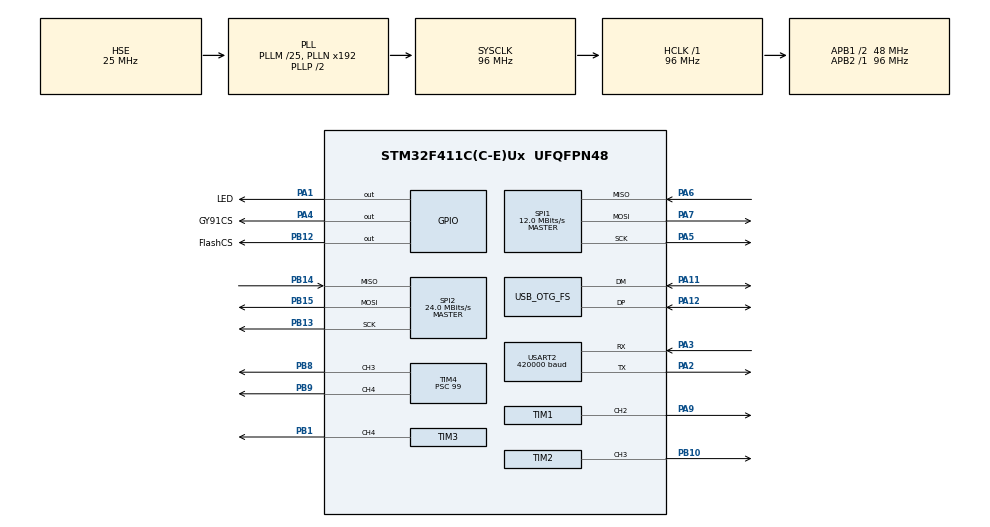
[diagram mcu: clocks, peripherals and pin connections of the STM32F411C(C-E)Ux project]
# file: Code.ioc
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Mcu.Family=STM32F4
Mcu.Name=STM32F411C(C-E)Ux
Mcu.Package=UFQFPN48
NVIC.OTG_FS_IRQn=true\:0\:0\:false\:false\:true\:false\:true\:true
NVIC.PriorityGroup=NVIC_PRIORITYGROUP_4
NVIC.USART2_IRQn=true\:0\:0\:false\:false\:true\:true\:true\:true
PA1.GPIO_Label=LED
PA1.Signal=GPIO_Output
PA11.Mode=Device_Only
PA11.Signal=USB_OTG_FS_DM
PA12.Mode=Device_Only
PA12.Signal=USB_OTG_FS_DP
PA13.Mode=Serial_Wire
PA13.Signal=SYS_JTMS-SWDIO
PA14.Mode=Serial_Wire
PA14.Signal=SYS_JTCK-SWCLK
PA2.Mode=Asynchronous
PA2.Signal=USART2_TX
PA3.Mode=Asynchronous
PA3.Signal=USART2_RX
PA4.GPIO_Label=GY91CS
PA4.Signal=GPIO_Output
PA5.Mode=Full_Duplex_Master
PA5.Signal=SPI1_SCK
PA6.Mode=Full_Duplex_Master
PA6.Signal=SPI1_MISO
PA7.Mode=Full_Duplex_Master
PA7.Signal=SPI1_MOSI
PA9.Signal=S_TIM1_CH2
PB1.Signal=S_TIM3_CH4
PB10.Signal=S_TIM2_CH3
PB12.GPIO_Label=FlashCS
PB12.Signal=GPIO_Output
PB13.Mode=Full_Duplex_Master
PB13.Signal=SPI2_SCK
PB14.Mode=Full_Duplex_Master
PB14.Signal=SPI2_MISO
PB15.Mode=Full_Duplex_Master
PB15.Signal=SPI2_MOSI
PB8.Signal=S_TIM4_CH3
PB9.Signal=S_TIM4_CH4
PH0\ -\ OSC_IN.Mode=HSE-External-Oscillator
PH0\ -\ OSC_IN.Signal=RCC_OSC_IN
PH1\ -\ OSC_OUT.Mode=HSE-External-Oscillator
PH1\ -\ OSC_OUT.Signal=RCC_OSC_OUT
ProjectManager.HeapSize=0x200
ProjectManager.StackSize=0x400
ProjectManager.TargetToolchain=STM32CubeIDE
RCC.48MHZClocksFreq_Value=48000000
RCC.AHBFreq_Value=96000000
RCC.APB1CLKDivider=RCC_HCLK_DIV2
RCC.APB1Freq_Value=48000000
RCC.APB1TimFreq_Value=96000000
RCC.APB2Freq_Value=96000000
RCC.APB2TimFreq_Value=96000000
RCC.CortexFreq_Value=96000000
RCC.HCLKFreq_Value=96000000
RCC.HSE_VALUE=25000000
RCC.HSI_VALUE=16000000
RCC.LSE_VALUE=32768
RCC.PLLM=25
RCC.SYSCLKFreq_VALUE=96000000
RCC.SYSCLKSource=RCC_SYSCLKSOURCE_PLLCLK
RCC.VCOOutputFreq_Value=192000000
SH.S_TIM1_CH2.0=TIM1_CH2,PWM Generation2 CH2
SH.S_TIM2_CH3.0=TIM2_CH3,PWM Generation3 CH3
SH.S_TIM3_CH4.0=TIM3_CH4,PWM Generation4 CH4
SH.S_TIM4_CH3.0=TIM4_CH3,PWM Generation3 CH3
SH.S_TIM4_CH4.0=TIM4_CH4,PWM Generation4 CH4
SPI1.BaudRatePrescaler=SPI_BAUDRATEPRESCALER_8
SPI1.CalculateBaudRate=12.0 MBits/s
SPI1.Direction=SPI_DIRECTION_2LINES
SPI1.Mode=SPI_MODE_MASTER
SPI1.VirtualType=VM_MASTER
SPI2.CalculateBaudRate=24.0 MBits/s
SPI2.Direction=SPI_DIRECTION_2LINES
SPI2.Mode=SPI_MODE_MASTER
SPI2.VirtualType=VM_MASTER
TIM1.Channel-PWM\ Generation2\ CH2=TIM_CHANNEL_2
TIM1.Period=19999
TIM1.Pulse-PWM\ Generation2\ CH2=1000
TIM11.Prescaler=83
TIM2.Channel-PWM\ Generation3\ CH3=TIM_CHANNEL_3
TIM2.Period=19999
TIM2.Prescaler=99
TIM2.Pulse-PWM\ Generation3\ CH3=1500
TIM3.Channel-PWM\ Generation4\ CH4=TIM_CHANNEL_4
TIM3.Period=19999
TIM3.Prescaler=83
TIM3.Pulse-PWM\ Generation4\ CH4=1500
TIM4.Channel-PWM\ Generation3\ CH3=TIM_CHANNEL_3
TIM4.Channel-PWM\ Generation4\ CH4=TIM_CHANNEL_4
TIM4.Prescaler=99
TIM4.Pulse-PWM\ Generation3\ CH3=1500
TIM4.Pulse-PWM\ Generation4\ CH4=1500
USART2.BaudRate=420000
USART2.VirtualMode=VM_ASYNC
USB_DEVICE.CLASS_NAME_FS=CDC
USB_DEVICE.VirtualMode=Cdc
USB_DEVICE.VirtualModeFS=Cdc_FS
USB_OTG_FS.VirtualMode=Device_Only
VP_TIM11_VS_ClockSourceINT.Mode=Enable_Timer
VP_TIM1_VS_ClockSourceINT.Mode=Internal
VP_TIM2_VS_ClockSourceINT.Mode=Internal
VP_TIM3_VS_ClockSourceINT.Mode=Internal
VP_TIM4_VS_ClockSourceINT.Mode=Internal
VP_USB_DEVICE_VS_USB_DEVICE_CDC_FS.Mode=CDC_FS
board=custom

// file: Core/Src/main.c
/* USER CODE BEGIN Header */
/**
  ******************************************************************************
  * @file           : main.c
  * @brief          : Main program body
  ******************************************************************************
  * @attention
  *
  * Copyright (c) 2026 STMicroelectronics.
  * All rights reserved.
  *
  * This software is licensed under terms that can be found in the LICENSE file
  * in the root directory of this software component.
  * If no LICENSE file comes with this software, it is provided AS-IS.
  *
  ******************************************************************************
  */
/* USER CODE END Header */
#include "main.h"
#include "usb_device.h"

/* USER CODE BEGIN Includes */
#include "usbd_cdc_if.h"
#include "controls.h"
#include "pid.h"
#include <math.h>
/* USER CODE END Includes */

SPI_HandleTypeDef hspi1;
SPI_HandleTypeDef hspi2;

TIM_HandleTypeDef htim1;
TIM_HandleTypeDef htim2;
TIM_HandleTypeDef htim3;
TIM_HandleTypeDef htim4;
TIM_HandleTypeDef htim11;

UART_HandleTypeDef huart2;

/* USER CODE BEGIN PV */
uint8_t rx_byte = 0;
uint8_t crsf_buffer[64];  // Bufor na całą paczkę CRSF
uint8_t crsf_index = 0;   // Licznik odebranych bajtów
volatile uint16_t roll, pitch, throttle, yaw;

PIDControls pid_roll;
PIDControls pid_pitch;

uint32_t last_blink_time = 0;
uint32_t last_pid_time = 0;

// --- Zmienne globalne do podglądu w Live Expressions ---
IMU_Data_t sensor_data;
float setpoint_roll, setpoint_pitch;
float pid_out_roll, pid_out_pitch;
long pwm_elev, pwm_flapL, pwm_flapR, pwm_rudder, pwm_throttle;

float angle_roll = 0.0f;
float angle_pitch = 0.0f;

// Zmienne na to, co wyliczy sam akcelerometr
float accel_roll = 0.0f;
float accel_pitch = 0.0f;
/* USER CODE END PV */

void SystemClock_Config(void);
static void MX_GPIO_Init(void);
static void MX_SPI1_Init(void);
static void MX_TIM2_Init(void);
static void MX_TIM3_Init(void);
static void MX_TIM11_Init(void);
static void MX_SPI2_Init(void);
static void MX_TIM4_Init(void);
static void MX_USART2_UART_Init(void);
static void MX_TIM1_Init(void);

/* USER CODE BEGIN 0 */
long map(long x, long in_min, long in_max, long out_min, long out_max) {
    return (x - in_min) * (out_max - out_min) / (in_max - in_min) + out_min;
}
/* USER CODE END 0 */

int main(void)
{

  /* MCU Configuration--------------------------------------------------------*/

  /* Reset of all peripherals, Initializes the Flash interface and the Systick. */
  HAL_Init();

  /* Configure the system clock */
  SystemClock_Config();

  /* Initialize all configured peripherals */
  MX_GPIO_Init();
  MX_SPI1_Init();
  MX_TIM2_Init();
  MX_TIM3_Init();
  MX_TIM11_Init();
  MX_SPI2_Init();
  MX_TIM4_Init();
  MX_USART2_UART_Init();
  MX_USB_DEVICE_Init();
  MX_TIM1_Init();
  /* USER CODE BEGIN 2 */
    // --- 1. WYMUSZENIE CZĘSTOTLIWOŚCI (50 Hz) ---
    __HAL_TIM_SET_AUTORELOAD(&htim4, 19999);
    TIM1->PSC = 99; // Naprawa TIM1

    // --- 2. TWARDE PRZYPISANIE PINÓW ---
    GPIO_InitTypeDef GPIO_InitStruct = {0};
    __HAL_RCC_GPIOA_CLK_ENABLE();
    __HAL_RCC_GPIOB_CLK_ENABLE();

    GPIO_InitStruct.Mode = GPIO_MODE_AF_PP;
    GPIO_InitStruct.Pull = GPIO_NOPULL;
    GPIO_InitStruct.Speed = GPIO_SPEED_FREQ_LOW;

    // Serwa na porcie B
    GPIO_InitStruct.Pin = GPIO_PIN_10;
    GPIO_InitStruct.Alternate = GPIO_AF1_TIM2;
    HAL_GPIO_Init(GPIOB, &GPIO_InitStruct); // Prawa klapa

    GPIO_InitStruct.Pin = GPIO_PIN_1;
    GPIO_InitStruct.Alternate = GPIO_AF2_TIM3;
    HAL_GPIO_Init(GPIOB, &GPIO_InitStruct); // Kierunek

    GPIO_InitStruct.Pin = GPIO_PIN_8 | GPIO_PIN_9;
    GPIO_InitStruct.Alternate = GPIO_AF2_TIM4;
    HAL_GPIO_Init(GPIOB, &GPIO_InitStruct); // Wysokość i Lewa Klapa

    // Silnik na PA9 (TIM1_CH2)
    GPIO_InitStruct.Pin = GPIO_PIN_9;
    GPIO_InitStruct.Alternate = GPIO_AF1_TIM1;
    HAL_GPIO_Init(GPIOA, &GPIO_InitStruct); // THROTTLE / ESC

    // --- 3. RĘCZNA KONFIGURACJA TIM1_CH2 ---
    TIM_OC_InitTypeDef sConfigOC_TIM1 = {0};
    sConfigOC_TIM1.OCMode = TIM_OCMODE_PWM1;
    sConfigOC_TIM1.Pulse = 1000; // Pozycja startowa = zero gazu
    sConfigOC_TIM1.OCPolarity = TIM_OCPOLARITY_HIGH;
    sConfigOC_TIM1.OCFastMode = TIM_OCFAST_DISABLE;
    HAL_TIM_PWM_ConfigChannel(&htim1, &sConfigOC_TIM1, TIM_CHANNEL_2);

    // --- 4. START KOMUNIKACJI I TIMERÓW ---
    HAL_UART_Receive_IT(&huart2, &rx_byte, 1);

    HAL_TIM_PWM_Start(&htim2, TIM_CHANNEL_3);
    HAL_TIM_PWM_Start(&htim3, TIM_CHANNEL_4);
    HAL_TIM_PWM_Start(&htim4, TIM_CHANNEL_3);
    HAL_TIM_PWM_Start(&htim4, TIM_CHANNEL_4);

    // Start silnika + aktywacja wyjść (MOE) dla zaawansowanego TIM1
    HAL_TIM_PWM_Start(&htim1, TIM_CHANNEL_2);
    __HAL_TIM_MOE_ENABLE(&htim1);
    TIM1->CCR2 = 1000; // Zabezpieczenie (0% gazu)

    // Inicjalizacja PID
    PID_Init(&pid_roll, 0.5f, 0.0f, 0.0f, 100.0f, 300.0f);
    PID_Init(&pid_pitch, 0.5f, 0.0f, 0.0f, 100.0f, 300.0f);

    // Inicjalizacja GY-91 (MPU9250) - BARDZO WAŻNE
    MPU9250_Init();

    last_pid_time = HAL_GetTick();
    // Czekamy 2 sekundy, aż ESC zagra melodyjkę i zniknie pikanie
    // --- TRYB SERWISOWY (odkomentuj tylko na biurku bez podpiętych popychaczy!) ---
     Test_Servo(&htim4, TIM_CHANNEL_3, &cfgElev);
     Test_Servo(&htim4, TIM_CHANNEL_4, &cfgFlapL);
     Test_Servo(&htim2, TIM_CHANNEL_3, &cfgFlapR);
     Test_Servo(&htim3, TIM_CHANNEL_4, &cfgRudder);
    HAL_Delay(2000);
  /* USER CODE END 2 */

  /* Infinite loop */
  /* USER CODE BEGIN WHILE */
    while (1)
        {
            // 1. Mruganie diodą (wizualny wskaźnik, że kod nie wisi)
            if (HAL_GetTick() - last_blink_time >= 300)
            {
                HAL_GPIO_TogglePin(GPIOA, LED_Pin);
                last_blink_time = HAL_GetTick();
            }

            // 2. Obliczenie delty czasu (dt) w sekundach dla PID
            uint32_t current_time = HAL_GetTick();
            float dt = (current_time - last_pid_time) / 1000.0f;
            last_pid_time = current_time;

            // Zabezpieczenie przed błędem matematycznym
            if(dt <= 0.0f) dt = 0.001f;

            // 3. Odczyt danych z żyroskopu i akcelerometru
            MPU9250_Read(&sensor_data);

            // 4. Przeliczenie sygnałów z CRSF na oczekiwaną prędkość obrotu (Setpoints)
            setpoint_roll = (roll - 992.0f) * 0.18f;
            setpoint_pitch = (pitch - 992.0f) * 0.18f;

            // Zabezpieczenie przed utratą sygnału (Failsafe)
            if (roll < 100) setpoint_roll = 0.0f;
            if (pitch < 100) setpoint_pitch = 0.0f;

            // 5. Obliczenie wartości stabilizujących przez PID
            pid_out_roll = PID_Compute(&pid_roll, setpoint_roll, sensor_data.gyro_x, dt);
            pid_out_pitch = PID_Compute(&pid_pitch, setpoint_pitch, sensor_data.gyro_y, dt);

            // --- BEZPOŚREDNI RUCH DRĄŻKA (Feed-Forward) ---
            // Zmapuj drążki bezpośrednio na wychylenie PWM (od -400 do +400 jednostek)
            long stick_pitch_mix = map_val(pitch, 172, 1811, -400, 400);
            long stick_roll_mix = map_val(roll, 172, 1811, -400, 400);

            // 6. MIKSER (Środek serwa + korekta z PID + bezpośredni ruch drążkiem)
            pwm_elev = cfgElev.center + (long)pid_out_pitch + stick_pitch_mix;

            // Pamiętaj o znakach dla lotek (jedna idzie w górę, druga w dół)
            pwm_flapL = cfgFlapL.center + (long)pid_out_roll + stick_roll_mix;
            pwm_flapR = cfgFlapR.center + (long)pid_out_roll + stick_roll_mix;

            // Używamy Twojego map_val do zmapowania drążków na limity serwa kierunku
            pwm_rudder = map_val(yaw, 172, 1811, cfgRudder.min, cfgRudder.max);

            // Gaz zostaje standardowo
            pwm_throttle = map_val(throttle, 172, 1811, 1000, 2000);

            // 7. ZABEZPIECZENIA - obcięcie sygnałów PWM do bezpiecznych limitów mechanicznych
            if(pwm_elev > cfgElev.max) pwm_elev = cfgElev.max;
            else if(pwm_elev < cfgElev.min) pwm_elev = cfgElev.min;

            if(pwm_flapL > cfgFlapL.max) pwm_flapL = cfgFlapL.max;
            else if(pwm_flapL < cfgFlapL.min) pwm_flapL = cfgFlapL.min;

            if(pwm_flapR > cfgFlapR.max) pwm_flapR = cfgFlapR.max;
            else if(pwm_flapR < cfgFlapR.min) pwm_flapR = cfgFlapR.min;

            // Zabezpieczenie silnika
            if(pwm_throttle > 2000) pwm_throttle = 2000;
            if(throttle < 200) pwm_throttle = 1000; // Awaryjne odcięcie silnika

            // --- OBLICZANIE PRAWDZIWEGO KĄTA (FILTR KOMPLEMENTARNY) ---

            // 1. Akcelerometr wylicza gdzie jest grawitacja (wzór z trygonometrii, 57.2957 to 180/PI)
            accel_pitch = atan2f(-sensor_data.accel_x, sensor_data.accel_z) * 57.2957f;
            accel_roll = atan2f(sensor_data.accel_y, sensor_data.accel_z) * 57.2957f;

            // 2. Filtr komplementarny: Ufa w 98% żyroskopowi (szybkość), a w 2% akcelerometrowi (grawitacja)
            angle_pitch = 0.98f * (angle_pitch + (sensor_data.gyro_y * dt)) + 0.02f * accel_pitch;
            angle_roll = 0.98f * (angle_roll + (sensor_data.gyro_x * dt)) + 0.02f * accel_roll;

            // 8. Aktualizacja PWM na timerach
            TIM4->CCR3 = (uint32_t)pwm_elev;     // PB8
            TIM4->CCR4 = (uint32_t)pwm_flapL;    // PB9
            TIM2->CCR3 = (uint32_t)pwm_flapR;    // PB10
            TIM3->CCR4 = (uint32_t)pwm_rudder;   // PB1
            TIM1->CCR2 = (uint32_t)pwm_throttle; // PA9
        }while (1)
        {
            // 1. Mruganie diodą (wizualny wskaźnik, że kod nie wisi)
            if (HAL_GetTick() - last_blink_time >= 300)
            {
                HAL_GPIO_TogglePin(GPIOA, LED_Pin);
                last_blink_time = HAL_GetTick();
            }

            // 2. Obliczenie delty czasu (dt) w sekundach dla PID
            uint32_t current_time = HAL_GetTick();
            float dt = (current_time - last_pid_time) / 1000.0f;
            last_pid_time = current_time;

            // Zabezpieczenie przed błędem matematycznym
            if(dt <= 0.0f) dt = 0.001f;

            // 3. Odczyt danych z żyroskopu i akcelerometru
            MPU9250_Read(&sensor_data);

            // 4. Przeliczenie sygnałów z CRSF na oczekiwaną prędkość obrotu (Setpoints)
            setpoint_roll = (roll - 992.0f) * 0.18f;
            setpoint_pitch = (pitch - 992.0f) * 0.18f;

            // Zabezpieczenie przed utratą sygnału (Failsafe)
            if (roll < 100) setpoint_roll = 0.0f;
            if (pitch < 100) setpoint_pitch = 0.0f;

            // 5. Obliczenie wartości stabilizujących przez PID
            pid_out_roll = PID_Compute(&pid_roll, setpoint_roll, sensor_data.gyro_x, dt);
            pid_out_pitch = PID_Compute(&pid_pitch, setpoint_pitch, sensor_data.gyro_y, dt);

            // --- BEZPOŚREDNI RUCH DRĄŻKA (Feed-Forward) ---
            // Zmapuj drążki bezpośrednio na wychylenie PWM (od -400 do +400 jednostek)
            long stick_pitch_mix = map_val(pitch, 172, 1811, -400, 400);
            long stick_roll_mix = map_val(roll, 172, 1811, -400, 400);

            // 6. MIKSER (Środek serwa + korekta z PID + bezpośredni ruch drążkiem)
            pwm_elev = cfgElev.center + (long)pid_out_pitch + stick_pitch_mix;

            // Pamiętaj o znakach dla lotek (jedna idzie w górę, druga w dół)
            pwm_flapL = cfgFlapL.center + (long)pid_out_roll + stick_roll_mix;
            pwm_flapR = cfgFlapR.center - (long)pid_out_roll - stick_roll_mix;

            // Używamy Twojego map_val do zmapowania drążków na limity serwa kierunku
            pwm_rudder = map_val(yaw, 172, 1811, cfgRudder.min, cfgRudder.max);

            // Gaz zostaje standardowo
            pwm_throttle = map_val(throttle, 172, 1811, 1000, 2000);

            // 7. ZABEZPIECZENIA - obcięcie sygnałów PWM do bezpiecznych limitów mechanicznych
            if(pwm_elev > cfgElev.max) pwm_elev = cfgElev.max;
            else if(pwm_elev < cfgElev.min) pwm_elev = cfgElev.min;

            if(pwm_flapL > cfgFlapL.max) pwm_flapL = cfgFlapL.max;
            else if(pwm_flapL < cfgFlapL.min) pwm_flapL = cfgFlapL.min;

            if(pwm_flapR > cfgFlapR.max) pwm_flapR = cfgFlapR.max;
            else if(pwm_flapR < cfgFlapR.min) pwm_flapR = cfgFlapR.min;

            // Zabezpieczenie silnika
            if(pwm_throttle > 2000) pwm_throttle = 2000;
            if(throttle < 200) pwm_throttle = 1000; // Awaryjne odcięcie silnika

            // --- OBLICZANIE PRAWDZIWEGO KĄTA (FILTR KOMPLEMENTARNY) ---

            // 1. Akcelerometr wylicza gdzie jest grawitacja (wzór z trygonometrii, 57.2957 to 180/PI)
            accel_pitch = atan2f(-sensor_data.accel_x, sensor_data.accel_z) * 57.2957f;
            accel_roll = atan2f(sensor_data.accel_y, sensor_data.accel_z) * 57.2957f;

            // 2. Filtr komplementarny: Ufa w 98% żyroskopowi (szybkość), a w 2% akcelerometrowi (grawitacja)
            angle_pitch = 0.98f * (angle_pitch + (sensor_data.gyro_y * dt)) + 0.02f * accel_pitch;
            angle_roll = 0.98f * (angle_roll + (sensor_data.gyro_x * dt)) + 0.02f * accel_roll;

            // 8. Aktualizacja PWM na timerach
            TIM4->CCR3 = (uint32_t)pwm_elev;     // PB8
            TIM4->CCR4 = (uint32_t)pwm_flapL;    // PB9
            TIM2->CCR3 = (uint32_t)pwm_flapR;    // PB10
            TIM3->CCR4 = (uint32_t)pwm_rudder;   // PB1
            TIM1->CCR2 = (uint32_t)pwm_throttle; // PA9
        }
    /* USER CODE END WHILE */

}

void SystemClock_Config(void)
{
  RCC_OscInitTypeDef RCC_OscInitStruct = {0};
  RCC_ClkInitTypeDef RCC_ClkInitStruct = {0};

  /** Configure the main internal regulator output voltage
  */
  __HAL_RCC_PWR_CLK_ENABLE();
  __HAL_PWR_VOLTAGESCALING_CONFIG(PWR_REGULATOR_VOLTAGE_SCALE1);

  /** Initializes the RCC Oscillators according to the specified parameters
  * in the RCC_OscInitTypeDef structure.
  */
  RCC_OscInitStruct.OscillatorType = RCC_OSCILLATORTYPE_HSE;
  RCC_OscInitStruct.HSEState = RCC_HSE_ON;
  RCC_OscInitStruct.PLL.PLLState = RCC_PLL_ON;
  RCC_OscInitStruct.PLL.PLLSource = RCC_PLLSOURCE_HSE;
  RCC_OscInitStruct.PLL.PLLM = 25;
  RCC_OscInitStruct.PLL.PLLN = 192;
  RCC_OscInitStruct.PLL.PLLP = RCC_PLLP_DIV2;
  RCC_OscInitStruct.PLL.PLLQ = 4;
  if (HAL_RCC_OscConfig(&RCC_OscInitStruct) != HAL_OK)
  {
    Error_Handler();
  }

  /** Initializes the CPU, AHB and APB buses clocks
  */
  RCC_ClkInitStruct.ClockType = RCC_CLOCKTYPE_HCLK|RCC_CLOCKTYPE_SYSCLK
                              |RCC_CLOCKTYPE_PCLK1|RCC_CLOCKTYPE_PCLK2;
  RCC_ClkInitStruct.SYSCLKSource = RCC_SYSCLKSOURCE_PLLCLK;
  RCC_ClkInitStruct.AHBCLKDivider = RCC_SYSCLK_DIV1;
  RCC_ClkInitStruct.APB1CLKDivider = RCC_HCLK_DIV2;
  RCC_ClkInitStruct.APB2CLKDivider = RCC_HCLK_DIV1;

  if (HAL_RCC_ClockConfig(&RCC_ClkInitStruct, FLASH_LATENCY_3) != HAL_OK)
  {
    Error_Handler();
  }
}

static void MX_SPI1_Init(void)
{

  /* SPI1 parameter configuration*/
  hspi1.Instance = SPI1;
  hspi1.Init.Mode = SPI_MODE_MASTER;
  hspi1.Init.Direction = SPI_DIRECTION_2LINES;
  hspi1.Init.DataSize = SPI_DATASIZE_8BIT;
  hspi1.Init.CLKPolarity = SPI_POLARITY_LOW;
  hspi1.Init.CLKPhase = SPI_PHASE_1EDGE;
  hspi1.Init.NSS = SPI_NSS_SOFT;
  hspi1.Init.BaudRatePrescaler = SPI_BAUDRATEPRESCALER_8;
  hspi1.Init.FirstBit = SPI_FIRSTBIT_MSB;
  hspi1.Init.TIMode = SPI_TIMODE_DISABLE;
  hspi1.Init.CRCCalculation = SPI_CRCCALCULATION_DISABLE;
  hspi1.Init.CRCPolynomial = 10;
  if (HAL_SPI_Init(&hspi1) != HAL_OK)
  {
    Error_Handler();
  }

}

static void MX_SPI2_Init(void)
{

  /* SPI2 parameter configuration*/
  hspi2.Instance = SPI2;
  hspi2.Init.Mode = SPI_MODE_MASTER;
  hspi2.Init.Direction = SPI_DIRECTION_2LINES;
  hspi2.Init.DataSize = SPI_DATASIZE_8BIT;
  hspi2.Init.CLKPolarity = SPI_POLARITY_LOW;
  hspi2.Init.CLKPhase = SPI_PHASE_1EDGE;
  hspi2.Init.NSS = SPI_NSS_SOFT;
  hspi2.Init.BaudRatePrescaler = SPI_BAUDRATEPRESCALER_2;
  hspi2.Init.FirstBit = SPI_FIRSTBIT_MSB;
  hspi2.Init.TIMode = SPI_TIMODE_DISABLE;
  hspi2.Init.CRCCalculation = SPI_CRCCALCULATION_DISABLE;
  hspi2.Init.CRCPolynomial = 10;
  if (HAL_SPI_Init(&hspi2) != HAL_OK)
  {
    Error_Handler();
  }

}

static void MX_TIM1_Init(void)
{

  TIM_ClockConfigTypeDef sClockSourceConfig = {0};
  TIM_MasterConfigTypeDef sMasterConfig = {0};
  TIM_OC_InitTypeDef sConfigOC = {0};
  TIM_BreakDeadTimeConfigTypeDef sBreakDeadTimeConfig = {0};

  htim1.Instance = TIM1;
  htim1.Init.Prescaler = 0;
  htim1.Init.CounterMode = TIM_COUNTERMODE_UP;
  htim1.Init.Period = 19999;
  htim1.Init.ClockDivision = TIM_CLOCKDIVISION_DIV1;
  htim1.Init.RepetitionCounter = 0;
  htim1.Init.AutoReloadPreload = TIM_AUTORELOAD_PRELOAD_DISABLE;
  if (HAL_TIM_Base_Init(&htim1) != HAL_OK)
  {
    Error_Handler();
  }
  sClockSourceConfig.ClockSource = TIM_CLOCKSOURCE_INTERNAL;
  if (HAL_TIM_ConfigClockSource(&htim1, &sClockSourceConfig) != HAL_OK)
  {
    Error_Handler();
  }
  if (HAL_TIM_PWM_Init(&htim1) != HAL_OK)
  {
    Error_Handler();
  }
  sMasterConfig.MasterOutputTrigger = TIM_TRGO_RESET;
  sMasterConfig.MasterSlaveMode = TIM_MASTERSLAVEMODE_DISABLE;
  if (HAL_TIMEx_MasterConfigSynchronization(&htim1, &sMasterConfig) != HAL_OK)
  {
    Error_Handler();
  }
  sConfigOC.OCMode = TIM_OCMODE_PWM1;
  sConfigOC.Pulse = 1000;
  sConfigOC.OCPolarity = TIM_OCPOLARITY_HIGH;
  sConfigOC.OCNPolarity = TIM_OCNPOLARITY_HIGH;
  sConfigOC.OCFastMode = TIM_OCFAST_DISABLE;
  sConfigOC.OCIdleState = TIM_OCIDLESTATE_RESET;
  sConfigOC.OCNIdleState = TIM_OCNIDLESTATE_RESET;
  if (HAL_TIM_PWM_ConfigChannel(&htim1, &sConfigOC, TIM_CHANNEL_2) != HAL_OK)
  {
    Error_Handler();
  }
  sBreakDeadTimeConfig.OffStateRunMode = TIM_OSSR_DISABLE;
  sBreakDeadTimeConfig.OffStateIDLEMode = TIM_OSSI_DISABLE;
  sBreakDeadTimeConfig.LockLevel = TIM_LOCKLEVEL_OFF;
  sBreakDeadTimeConfig.DeadTime = 0;
  sBreakDeadTimeConfig.BreakState = TIM_BREAK_DISABLE;
  sBreakDeadTimeConfig.BreakPolarity = TIM_BREAKPOLARITY_HIGH;
  sBreakDeadTimeConfig.AutomaticOutput = TIM_AUTOMATICOUTPUT_DISABLE;
  if (HAL_TIMEx_ConfigBreakDeadTime(&htim1, &sBreakDeadTimeConfig) != HAL_OK)
  {
    Error_Handler();
  }
  HAL_TIM_MspPostInit(&htim1);

}

static void MX_TIM2_Init(void)
{

  TIM_ClockConfigTypeDef sClockSourceConfig = {0};
  TIM_MasterConfigTypeDef sMasterConfig = {0};
  TIM_OC_InitTypeDef sConfigOC = {0};

  htim2.Instance = TIM2;
  htim2.Init.Prescaler = 99;
  htim2.Init.CounterMode = TIM_COUNTERMODE_UP;
  htim2.Init.Period = 19999;
  htim2.Init.ClockDivision = TIM_CLOCKDIVISION_DIV1;
  htim2.Init.AutoReloadPreload = TIM_AUTORELOAD_PRELOAD_DISABLE;
  if (HAL_TIM_Base_Init(&htim2) != HAL_OK)
  {
    Error_Handler();
  }
  sClockSourceConfig.ClockSource = TIM_CLOCKSOURCE_INTERNAL;
  if (HAL_TIM_ConfigClockSource(&htim2, &sClockSourceConfig) != HAL_OK)
  {
    Error_Handler();
  }
  if (HAL_TIM_PWM_Init(&htim2) != HAL_OK)
  {
    Error_Handler();
  }
  sMasterConfig.MasterOutputTrigger = TIM_TRGO_RESET;
  sMasterConfig.MasterSlaveMode = TIM_MASTERSLAVEMODE_DISABLE;
  if (HAL_TIMEx_MasterConfigSynchronization(&htim2, &sMasterConfig) != HAL_OK)
  {
    Error_Handler();
  }
  sConfigOC.OCMode = TIM_OCMODE_PWM1;
  sConfigOC.Pulse = 1500;
  sConfigOC.OCPolarity = TIM_OCPOLARITY_HIGH;
  sConfigOC.OCFastMode = TIM_OCFAST_DISABLE;
  if (HAL_TIM_PWM_ConfigChannel(&htim2, &sConfigOC, TIM_CHANNEL_3) != HAL_OK)
  {
    Error_Handler();
  }
  HAL_TIM_MspPostInit(&htim2);

}

static void MX_TIM3_Init(void)
{

  TIM_ClockConfigTypeDef sClockSourceConfig = {0};
  TIM_MasterConfigTypeDef sMasterConfig = {0};
  TIM_OC_InitTypeDef sConfigOC = {0};

  htim3.Instance = TIM3;
  htim3.Init.Prescaler = 83;
  htim3.Init.CounterMode = TIM_COUNTERMODE_UP;
  htim3.Init.Period = 19999;
  htim3.Init.ClockDivision = TIM_CLOCKDIVISION_DIV1;
  htim3.Init.AutoReloadPreload = TIM_AUTORELOAD_PRELOAD_DISABLE;
  if (HAL_TIM_Base_Init(&htim3) != HAL_OK)
  {
    Error_Handler();
  }
  sClockSourceConfig.ClockSource = TIM_CLOCKSOURCE_INTERNAL;
  if (HAL_TIM_ConfigClockSource(&htim3, &sClockSourceConfig) != HAL_OK)
  {
    Error_Handler();
  }
  if (HAL_TIM_PWM_Init(&htim3) != HAL_OK)
  {
    Error_Handler();
  }
  sMasterConfig.MasterOutputTrigger = TIM_TRGO_RESET;
  sMasterConfig.MasterSlaveMode = TIM_MASTERSLAVEMODE_DISABLE;
  if (HAL_TIMEx_MasterConfigSynchronization(&htim3, &sMasterConfig) != HAL_OK)
  {
    Error_Handler();
  }
  sConfigOC.OCMode = TIM_OCMODE_PWM1;
  sConfigOC.Pulse = 1500;
  sConfigOC.OCPolarity = TIM_OCPOLARITY_HIGH;
  sConfigOC.OCFastMode = TIM_OCFAST_DISABLE;
  if (HAL_TIM_PWM_ConfigChannel(&htim3, &sConfigOC, TIM_CHANNEL_4) != HAL_OK)
  {
    Error_Handler();
  }
  HAL_TIM_MspPostInit(&htim3);

}

static void MX_TIM4_Init(void)
{

  TIM_ClockConfigTypeDef sClockSourceConfig = {0};
  TIM_MasterConfigTypeDef sMasterConfig = {0};
  TIM_OC_InitTypeDef sConfigOC = {0};

  htim4.Instance = TIM4;
  htim4.Init.Prescaler = 99;
  htim4.Init.CounterMode = TIM_COUNTERMODE_UP;
  htim4.Init.Period = 65535;
  htim4.Init.ClockDivision = TIM_CLOCKDIVISION_DIV1;
  htim4.Init.AutoReloadPreload = TIM_AUTORELOAD_PRELOAD_DISABLE;
  if (HAL_TIM_Base_Init(&htim4) != HAL_OK)
  {
    Error_Handler();
  }
  sClockSourceConfig.ClockSource = TIM_CLOCKSOURCE_INTERNAL;
  if (HAL_TIM_ConfigClockSource(&htim4, &sClockSourceConfig) != HAL_OK)
  {
    Error_Handler();
  }
  if (HAL_TIM_PWM_Init(&htim4) != HAL_OK)
  {
    Error_Handler();
  }
  sMasterConfig.MasterOutputTrigger = TIM_TRGO_RESET;
  sMasterConfig.MasterSlaveMode = TIM_MASTERSLAVEMODE_DISABLE;
  if (HAL_TIMEx_MasterConfigSynchronization(&htim4, &sMasterConfig) != HAL_OK)
  {
    Error_Handler();
  }
  sConfigOC.OCMode = TIM_OCMODE_PWM1;
  sConfigOC.Pulse = 1500;
  sConfigOC.OCPolarity = TIM_OCPOLARITY_HIGH;
  sConfigOC.OCFastMode = TIM_OCFAST_DISABLE;
  if (HAL_TIM_PWM_ConfigChannel(&htim4, &sConfigOC, TIM_CHANNEL_3) != HAL_OK)
  {
    Error_Handler();
  }
  if (HAL_TIM_PWM_ConfigChannel(&htim4, &sConfigOC, TIM_CHANNEL_4) != HAL_OK)
  {
    Error_Handler();
  }
  HAL_TIM_MspPostInit(&htim4);

}

static void MX_TIM11_Init(void)
{

  htim11.Instance = TIM11;
  htim11.Init.Prescaler = 83;
  htim11.Init.CounterMode = TIM_COUNTERMODE_UP;
  htim11.Init.Period = 65535;
  htim11.Init.ClockDivision = TIM_CLOCKDIVISION_DIV1;
  htim11.Init.AutoReloadPreload = TIM_AUTORELOAD_PRELOAD_DISABLE;
  if (HAL_TIM_Base_Init(&htim11) != HAL_OK)
  {
    Error_Handler();
  }

}

static void MX_USART2_UART_Init(void)
{

  huart2.Instance = USART2;
  huart2.Init.BaudRate = 420000;
  huart2.Init.WordLength = UART_WORDLENGTH_8B;
  huart2.Init.StopBits = UART_STOPBITS_1;
  huart2.Init.Parity = UART_PARITY_NONE;
  huart2.Init.Mode = UART_MODE_TX_RX;
  huart2.Init.HwFlowCtl = UART_HWCONTROL_NONE;
  huart2.Init.OverSampling = UART_OVERSAMPLING_16;
  if (HAL_UART_Init(&huart2) != HAL_OK)
  {
    Error_Handler();
  }

}

static void MX_GPIO_Init(void)
{
  GPIO_InitTypeDef GPIO_InitStruct = {0};

  /* GPIO Ports Clock Enable */
  __HAL_RCC_GPIOH_CLK_ENABLE();
  __HAL_RCC_GPIOA_CLK_ENABLE();
  __HAL_RCC_GPIOB_CLK_ENABLE();

  /*Configure GPIO pin Output Level */
  HAL_GPIO_WritePin(GPIOA, LED_Pin|GY91CS_Pin, GPIO_PIN_RESET);

  /*Configure GPIO pin Output Level */
  HAL_GPIO_WritePin(FlashCS_GPIO_Port, FlashCS_Pin, GPIO_PIN_RESET);

  /*Configure GPIO pins : LED_Pin GY91CS_Pin */
  GPIO_InitStruct.Pin = LED_Pin|GY91CS_Pin;
  GPIO_InitStruct.Mode = GPIO_MODE_OUTPUT_PP;
  GPIO_InitStruct.Pull = GPIO_NOPULL;
  GPIO_InitStruct.Speed = GPIO_SPEED_FREQ_LOW;
  HAL_GPIO_Init(GPIOA, &GPIO_InitStruct);

  /*Configure GPIO pin : FlashCS_Pin */
  GPIO_InitStruct.Pin = FlashCS_Pin;
  GPIO_InitStruct.Mode = GPIO_MODE_OUTPUT_PP;
  GPIO_InitStruct.Pull = GPIO_NOPULL;
  GPIO_InitStruct.Speed = GPIO_SPEED_FREQ_LOW;
  HAL_GPIO_Init(FlashCS_GPIO_Port, &GPIO_InitStruct);

}

/* USER CODE BEGIN 4 */
//tu kurwa sie robi gdy dostajemy sygnał kurwa od kontrolera
void HAL_UART_RxCpltCallback(UART_HandleTypeDef *huart)
{
    if (huart->Instance == USART2)
    {
        // Zapisujemy odebrany bajt do bufora
        crsf_buffer[crsf_index] = rx_byte;

        // Jeśli pierwszy bajt to nie jest magiczne 0xC8 (200), to ignorujemy śmieci
        if (crsf_index == 0 && crsf_buffer[0] != 0xC8) {
            crsf_index = 0;
        }
        else {
            crsf_index++;
        }

        // Ramka z kanałami RC w CRSF ma dokładnie 26 bajtów
        if (crsf_index >= 26) {
            // Sprawdzamy czy to ramka z pozycjami drążków (Typ ramki = 0x16)
            if (crsf_buffer[2] == 0x16) {

                // Magia przesunięć bitowych CRSF (rozpakowywanie 11-bitowych danych z 8-bitowych bajtów)
                // Kanał 1 (Roll)
                roll = (uint16_t)((crsf_buffer[3] | crsf_buffer[4] << 8) & 0x07FF);
                // Kanał 2 (Pitch)
                pitch = (uint16_t)((crsf_buffer[4] >> 3 | crsf_buffer[5] << 5) & 0x07FF);
                // Kanał 3 (Throttle)
                throttle = (uint16_t)((crsf_buffer[5] >> 6 | crsf_buffer[6] << 2 | crsf_buffer[7] << 10) & 0x07FF);
                // Kanał 4 (Yaw)
                yaw = (uint16_t)((crsf_buffer[7] >> 1 | crsf_buffer[8] << 7) & 0x07FF);

                // (Opcjonalnie) Kolejne kanały, np. na uzbrajanie silników (AUX1) byłyby dalej
            }
            crsf_index = 0; // Zaczynamy szukać kolejnej ramki od nowa
        }

        // ZNOWU UZBRAJAMY PRZERWANIE na kolejny bajt
        HAL_UART_Receive_IT(&huart2, &rx_byte, 1);
    }
}

void HAL_UART_ErrorCallback(UART_HandleTypeDef *huart)
{
    // W razie błędu na linii ignorujemy zator, resetujemy licznik i nasłuchujemy dalej
    if (huart->Instance == USART2) {
        crsf_index = 0;
        HAL_UART_Receive_IT(&huart2, &rx_byte, 1);
    }
}
/* USER CODE END 4 */

void Error_Handler(void)
{
  __disable_irq();
  while (1)
  {
  }
}
